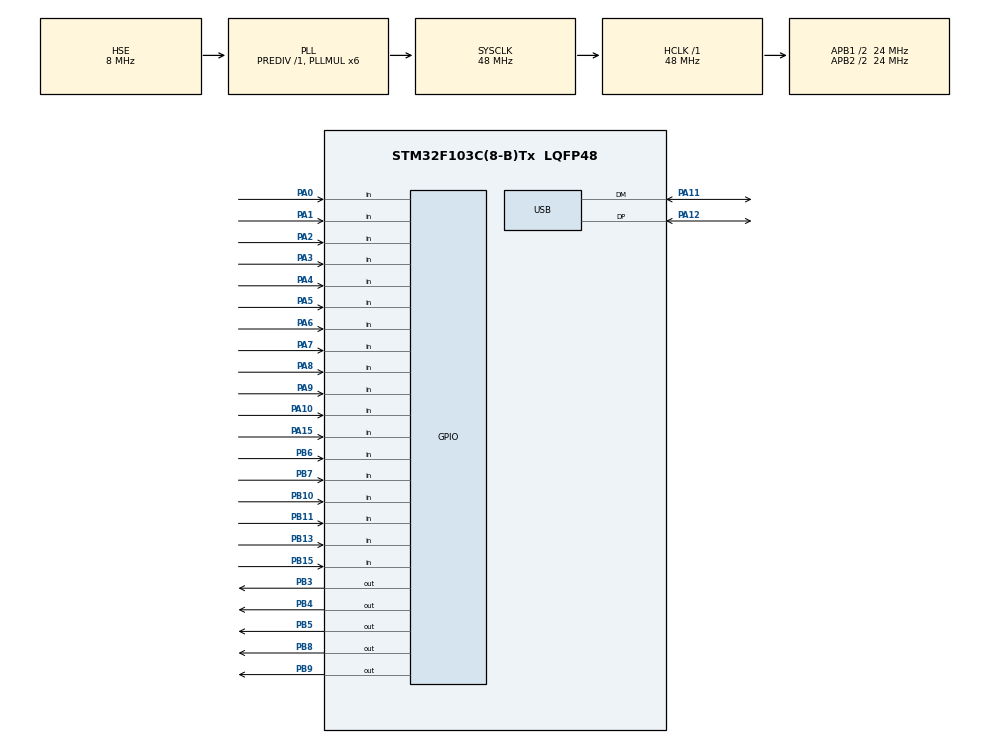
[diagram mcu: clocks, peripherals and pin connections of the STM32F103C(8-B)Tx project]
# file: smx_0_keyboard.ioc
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Mcu.Family=STM32F1
Mcu.Name=STM32F103C(8-B)Tx
Mcu.Package=LQFP48
NVIC.PriorityGroup=NVIC_PRIORITYGROUP_4
NVIC.USB_LP_CAN1_RX0_IRQn=true\:0\:0\:false\:false\:true\:false\:true\:true
PA0-WKUP.Signal=GPIO_Input
PA1.Signal=GPIO_Input
PA10.Signal=GPIO_Input
PA11.Mode=Device
PA11.Signal=USB_DM
PA12.Mode=Device
PA12.Signal=USB_DP
PA13.Mode=Serial_Wire
PA13.Signal=SYS_JTMS-SWDIO
PA14.Mode=Serial_Wire
PA14.Signal=SYS_JTCK-SWCLK
PA15.Signal=GPIO_Input
PA2.Signal=GPIO_Input
PA3.Signal=GPIO_Input
PA4.Signal=GPIO_Input
PA5.Signal=GPIO_Input
PA6.Signal=GPIO_Input
PA7.Signal=GPIO_Input
PA8.Signal=GPIO_Input
PA9.Signal=GPIO_Input
PB10.Signal=GPIO_Input
PB11.Signal=GPIO_Input
PB13.Signal=GPIO_Input
PB15.Signal=GPIO_Input
PB3.GPIO_PuPd=GPIO_PULLDOWN
PB3.Signal=GPIO_Output
PB4.Signal=GPIO_Output
PB5.Signal=GPIO_Output
PB6.Signal=GPIO_Input
PB7.Signal=GPIO_Input
PB8.Signal=GPIO_Output
PB9.Signal=GPIO_Output
PD0-OSC_IN.Mode=HSE-External-Oscillator
PD0-OSC_IN.Signal=RCC_OSC_IN
PD1-OSC_OUT.Mode=HSE-External-Oscillator
PD1-OSC_OUT.Signal=RCC_OSC_OUT
ProjectManager.HeapSize=0x200
ProjectManager.StackSize=0x400
ProjectManager.TargetToolchain=STM32CubeIDE
RCC.AHBFreq_Value=48000000
RCC.APB1CLKDivider=RCC_HCLK_DIV2
RCC.APB1Freq_Value=24000000
RCC.APB1TimFreq_Value=48000000
RCC.APB2CLKDivider=RCC_HCLK_DIV2
RCC.APB2Freq_Value=24000000
RCC.APB2TimFreq_Value=48000000
RCC.HCLKFreq_Value=48000000
RCC.PLLMUL=RCC_PLL_MUL6
RCC.SYSCLKFreq_VALUE=48000000
RCC.SYSCLKSource=RCC_SYSCLKSOURCE_PLLCLK
RCC.USBFreq_Value=48000000
USB_DEVICE.CLASS_NAME_FS=HID
USB_DEVICE.VirtualMode=Hid
USB_DEVICE.VirtualModeFS=Hid_FS
VP_USB_DEVICE_VS_USB_DEVICE_HID_FS.Mode=HID_FS
board=custom

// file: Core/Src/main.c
/* USER CODE BEGIN Header */
/**
 ******************************************************************************
 * @file           : main.c
 * @brief          : Main program body
 ******************************************************************************
 * @attention
 *
 * Copyright (c) 2024 STMicroelectronics.
 * All rights reserved.
 *
 * This software is licensed under terms that can be found in the LICENSE file
 * in the root directory of this software component.
 * If no LICENSE file comes with this software, it is provided AS-IS.
 *
 ******************************************************************************
 */
/* USER CODE END Header */
#include "main.h"
#include "usb_device.h"
#include "usbd_hid.h"

/* USER CODE BEGIN PTD */

typedef struct
{
	uint8_t MODIFIER;
	uint8_t RESERVED;
	uint8_t KEYCODE1;
	uint8_t KEYCODE2;
	uint8_t KEYCODE3;
	uint8_t KEYCODE4;
	uint8_t KEYCODE5;
	uint8_t KEYCODE6;
}subKeyBoard;

/* USER CODE END PTD */

/* USER CODE BEGIN PV */
extern USBD_HandleTypeDef hUsbDeviceFS;

subKeyBoard keyBoardHIDsub = {0,0,0,0,0,0,0,0};

uint8_t rot_sw = 0;
uint8_t rot_A = 0;
uint8_t rot_B = 0;
uint8_t i;
/* USER CODE END PV */

void SystemClock_Config(void);
static void MX_GPIO_Init(void);

int main(void)
{

	/* MCU Configuration--------------------------------------------------------*/

	/* Reset of all peripherals, Initializes the Flash interface and the Systick. */
	HAL_Init();

	/* Configure the system clock */
	SystemClock_Config();

	/* Initialize all configured peripherals */
	MX_GPIO_Init();
	MX_USB_DEVICE_Init();

	/* Infinite loop */
	while (1)
	{

		/* USER CODE BEGIN 3 */

		check_matrix();
		keyBoardHIDsub.MODIFIER = modifier_pressed;
		keyBoardHIDsub.KEYCODE1 = key_pressed;

		keyBoardHIDsub.KEYCODE1 = keys_to_send[0];
		keyBoardHIDsub.KEYCODE2 = keys_to_send[1];
		keyBoardHIDsub.KEYCODE3 = keys_to_send[2];
		keyBoardHIDsub.KEYCODE4 = keys_to_send[3];
		keyBoardHIDsub.KEYCODE5 = keys_to_send[4];
		keyBoardHIDsub.KEYCODE6 = keys_to_send[5];

		USBD_HID_SendReport(&hUsbDeviceFS,&keyBoardHIDsub,sizeof(keyBoardHIDsub));
		key_pressed = 0x00;
		modifier_pressed = 0x00;
		for (i = 0; i <= 6; i++){
			keys_to_send[i] = 0x00;
		}
		//HAL_Delay(50);

	}
	/* USER CODE END 3 */
}

void SystemClock_Config(void)
{
	RCC_OscInitTypeDef RCC_OscInitStruct = {0};
	RCC_ClkInitTypeDef RCC_ClkInitStruct = {0};
	RCC_PeriphCLKInitTypeDef PeriphClkInit = {0};

	/** Initializes the RCC Oscillators according to the specified parameters
	 * in the RCC_OscInitTypeDef structure.
	 */
	RCC_OscInitStruct.OscillatorType = RCC_OSCILLATORTYPE_HSE;
	RCC_OscInitStruct.HSEState = RCC_HSE_ON;
	RCC_OscInitStruct.HSEPredivValue = RCC_HSE_PREDIV_DIV1;
	RCC_OscInitStruct.HSIState = RCC_HSI_ON;
	RCC_OscInitStruct.PLL.PLLState = RCC_PLL_ON;
	RCC_OscInitStruct.PLL.PLLSource = RCC_PLLSOURCE_HSE;
	RCC_OscInitStruct.PLL.PLLMUL = RCC_PLL_MUL6;
	if (HAL_RCC_OscConfig(&RCC_OscInitStruct) != HAL_OK)
	{
		Error_Handler();
	}

	/** Initializes the CPU, AHB and APB buses clocks
	 */
	RCC_ClkInitStruct.ClockType = RCC_CLOCKTYPE_HCLK|RCC_CLOCKTYPE_SYSCLK
			|RCC_CLOCKTYPE_PCLK1|RCC_CLOCKTYPE_PCLK2;
	RCC_ClkInitStruct.SYSCLKSource = RCC_SYSCLKSOURCE_PLLCLK;
	RCC_ClkInitStruct.AHBCLKDivider = RCC_SYSCLK_DIV1;
	RCC_ClkInitStruct.APB1CLKDivider = RCC_HCLK_DIV2;
	RCC_ClkInitStruct.APB2CLKDivider = RCC_HCLK_DIV2;

	if (HAL_RCC_ClockConfig(&RCC_ClkInitStruct, FLASH_LATENCY_1) != HAL_OK)
	{
		Error_Handler();
	}
	PeriphClkInit.PeriphClockSelection = RCC_PERIPHCLK_USB;
	PeriphClkInit.UsbClockSelection = RCC_USBCLKSOURCE_PLL;
	if (HAL_RCCEx_PeriphCLKConfig(&PeriphClkInit) != HAL_OK)
	{
		Error_Handler();
	}
}

static void MX_GPIO_Init(void)
{
	GPIO_InitTypeDef GPIO_InitStruct = {0};

	/* GPIO Ports Clock Enable */
	__HAL_RCC_GPIOD_CLK_ENABLE();
	__HAL_RCC_GPIOA_CLK_ENABLE();
	__HAL_RCC_GPIOB_CLK_ENABLE();

	/*Configure GPIO pin Output Level */
	HAL_GPIO_WritePin(GPIOB, GPIO_PIN_3|GPIO_PIN_4|GPIO_PIN_5|GPIO_PIN_8
			|GPIO_PIN_9, GPIO_PIN_RESET);

	/*Configure GPIO pins : PA0 PA1 PA2 PA3
                           PA4 PA5 PA6 PA7
                           PA8 PA9 PA10 PA15 */
	GPIO_InitStruct.Pin = GPIO_PIN_0|GPIO_PIN_1|GPIO_PIN_2|GPIO_PIN_3
			|GPIO_PIN_4|GPIO_PIN_5|GPIO_PIN_6|GPIO_PIN_7
			|GPIO_PIN_8|GPIO_PIN_9|GPIO_PIN_10|GPIO_PIN_15;
	GPIO_InitStruct.Mode = GPIO_MODE_INPUT;
	GPIO_InitStruct.Pull = GPIO_NOPULL;
	HAL_GPIO_Init(GPIOA, &GPIO_InitStruct);

	/*Configure GPIO pins : PB10 PB11 PB13 PB15
                           PB6 PB7 */
	GPIO_InitStruct.Pin = GPIO_PIN_10|GPIO_PIN_11|GPIO_PIN_13|GPIO_PIN_15
			|GPIO_PIN_6|GPIO_PIN_7;
	GPIO_InitStruct.Mode = GPIO_MODE_INPUT;
	GPIO_InitStruct.Pull = GPIO_NOPULL;
	HAL_GPIO_Init(GPIOB, &GPIO_InitStruct);

	/*Configure GPIO pin : PB3 */
	GPIO_InitStruct.Pin = GPIO_PIN_3;
	GPIO_InitStruct.Mode = GPIO_MODE_OUTPUT_PP;
	GPIO_InitStruct.Pull = GPIO_PULLDOWN;
	GPIO_InitStruct.Speed = GPIO_SPEED_FREQ_LOW;
	HAL_GPIO_Init(GPIOB, &GPIO_InitStruct);

	/*Configure GPIO pins : PB4 PB5 PB8 PB9 */
	GPIO_InitStruct.Pin = GPIO_PIN_4|GPIO_PIN_5|GPIO_PIN_8|GPIO_PIN_9;
	GPIO_InitStruct.Mode = GPIO_MODE_OUTPUT_PP;
	GPIO_InitStruct.Pull = GPIO_NOPULL;
	GPIO_InitStruct.Speed = GPIO_SPEED_FREQ_LOW;
	HAL_GPIO_Init(GPIOB, &GPIO_InitStruct);

}

void Error_Handler(void)
{
	__disable_irq();
	while (1)
	{
	}
}
